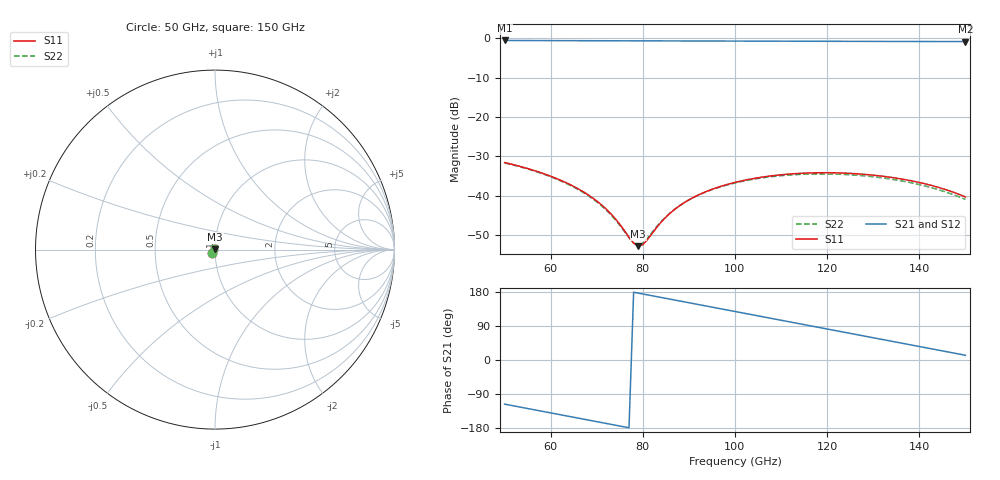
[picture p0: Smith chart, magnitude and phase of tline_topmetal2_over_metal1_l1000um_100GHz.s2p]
#  GHZ S DB R 50
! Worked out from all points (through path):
!   101 points, 50 GHz to 150 GHz, reference 50 ohm
!   highest |S21| = -0.54 dB at 50 GHz (marker M1); lowest = -0.8 dB at 150 GHz (marker M2)
!   group delay of S21, straight-line fit = 6.42 ps
!   lowest |S11| = -52.8 dB at 79 GHz (marker M3), VSWR 1.00, Z = 50.1 + j0.213 ohm
!   |S11| at or under -10 dB: start of sweep to end of sweep
!   |S22| runs from -52.6 to -31.7 dB; largest |S21 - S12| = 1.1e-14
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50  -31.58 -130.1  -0.54 -116.5  -0.54 -116.5  -31.67 -130.2
55  -33.10 -144.9  -0.56 -128.1  -0.56 -128.1  -33.21 -145.1
60  -35.05 -160.1  -0.58 -139.6  -0.58 -139.6  -35.19 -160.5
67  -38.96 176.4  -0.61 -155.8  -0.61 -155.8  -39.15 175.6
72  -43.35 154.8  -0.62 -167.3  -0.62 -167.3  -43.60 153.4
74  -45.82 142.5  -0.63 -171.9  -0.63 -171.9  -46.08 140.4
78  -52.06 92.0  -0.64 178.8  -0.64 178.8  -52.04 87.6
79  -52.83 68.9  -0.64 176.5  -0.64 176.5  -52.58 64.9
80  -52.44 45.1  -0.65 174.2  -0.65 174.2  -52.05 42.4
84  -46.69 -9.0  -0.66 165.0  -0.66 165.0  -46.52 -9.0
87  -43.40 -27.0  -0.67 158.0  -0.67 158.0  -43.35 -26.9
91  -40.42 -43.8  -0.68 148.8  -0.68 148.8  -40.46 -43.8
95  -38.38 -57.7  -0.69 139.6  -0.69 139.6  -38.48 -57.9
100  -36.62 -73.5  -0.70 128.0  -0.70 128.0  -36.77 -73.9
105  -35.44 -88.5  -0.72 116.5  -0.72 116.5  -35.63 -89.1
109  -34.81 -100.1  -0.73 107.2  -0.73 107.2  -35.03 -100.9
117  -34.20 -123.1  -0.75 88.7  -0.75 88.7  -34.48 -124.3
125  -34.33 -145.9  -0.77 70.3  -0.77 70.3  -34.69 -147.8
129  -34.67 -157.4  -0.78 61.0  -0.78 61.0  -35.07 -159.7
134  -35.36 -172.0  -0.79 49.5  -0.79 49.5  -35.82 -175.0
142  -37.20 163.9  -0.81 31.0  -0.81 31.0  -37.76 159.1
150  -40.31 137.0  -0.83 12.5  -0.83 12.5  -40.96 128.7
